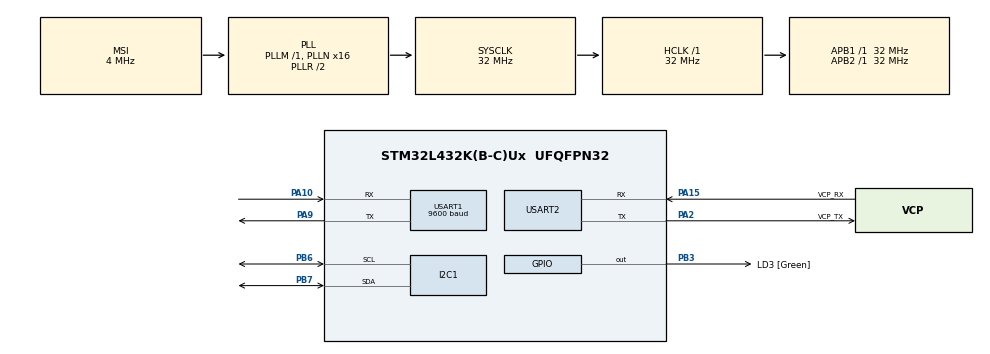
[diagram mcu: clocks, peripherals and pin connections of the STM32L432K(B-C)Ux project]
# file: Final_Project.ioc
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I2C1.Timing=0x00707CBB
Mcu.Family=STM32L4
Mcu.Name=STM32L432K(B-C)Ux
Mcu.Package=UFQFPN32
NVIC.PriorityGroup=NVIC_PRIORITYGROUP_4
PA0.GPIO_Label=MCO [High speed clock in]
PA0.Mode=HSE-External-Clock-Source-for-LittleOrca
PA0.Signal=RCC_CK_IN
PA10.Mode=Asynchronous
PA10.Signal=USART1_RX
PA13\ (JTMS-SWDIO).GPIO_Label=SWDIO
PA13\ (JTMS-SWDIO).Mode=Serial_Wire
PA13\ (JTMS-SWDIO).Signal=SYS_JTMS-SWDIO
PA14\ (JTCK-SWCLK).GPIO_Label=SWCLK
PA14\ (JTCK-SWCLK).Mode=Serial_Wire
PA14\ (JTCK-SWCLK).Signal=SYS_JTCK-SWCLK
PA15\ (JTDI).GPIO_Label=VCP_RX
PA15\ (JTDI).Mode=Asynchronous
PA15\ (JTDI).Signal=USART2_RX
PA2.GPIO_Label=VCP_TX
PA2.Mode=Asynchronous
PA2.Signal=USART2_TX
PA9.Mode=Asynchronous
PA9.Signal=USART1_TX
PB3\ (JTDO-TRACESWO).GPIO_Label=LD3 [Green]
PB3\ (JTDO-TRACESWO).Signal=GPIO_Output
PB6.GPIO_PuPdOD=GPIO_NOPULL
PB6.Mode=I2C
PB6.Signal=I2C1_SCL
PB7.GPIO_PuPdOD=GPIO_NOPULL
PB7.Mode=I2C
PB7.Signal=I2C1_SDA
PC14-OSC32_IN\ (PC14).Mode=LSE-External-Oscillator
PC14-OSC32_IN\ (PC14).Signal=RCC_OSC32_IN
PC15-OSC32_OUT\ (PC15).Mode=LSE-External-Oscillator
PC15-OSC32_OUT\ (PC15).Signal=RCC_OSC32_OUT
ProjectManager.HeapSize=0x200
ProjectManager.StackSize=0x400
ProjectManager.TargetToolchain=TrueSTUDIO
RCC.AHBFreq_Value=32000000
RCC.APB1Freq_Value=32000000
RCC.APB1TimFreq_Value=32000000
RCC.APB2Freq_Value=32000000
RCC.APB2TimFreq_Value=32000000
RCC.CortexFreq_Value=32000000
RCC.HCLKFreq_Value=32000000
RCC.HSE_VALUE=8000000
RCC.HSI16_VALUE=16000000
RCC.HSI48_VALUE=48000000
RCC.HSI_VALUE=16000000
RCC.MSI_VALUE=4000000
RCC.PLLMUL=RCC_PLLMUL_4
RCC.PLLN=16
RCC.SYSCLKFreq_VALUE=32000000
RCC.SYSCLKSource=RCC_SYSCLKSOURCE_PLLCLK
RCC.VCOOutputFreq_Value=64000000
USART1.BaudRate=9600
USART1.VirtualMode-Asynchronous=VM_ASYNC
USART2.VirtualMode-Asynchronous=VM_ASYNC
board=NUCLEO-L432KC

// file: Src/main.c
/**
  ******************************************************************************
  * @file           : main.c
  * @brief          : Main program body
  ******************************************************************************
  ** This notice applies to any and all portions of this file
  * that are not between comment pairs USER CODE BEGIN and
  * USER CODE END. Other portions of this file, whether
  * inserted by the user or by software development tools
  * are owned by their respective copyright owners.
  *
  * COPYRIGHT(c) 2019 STMicroelectronics
  *
  * Redistribution and use in source and binary forms, with or without modification,
  * are permitted provided that the following conditions are met:
  *   1. Redistributions of source code must retain the above copyright notice,
  *      this list of conditions and the following disclaimer.
  *   2. Redistributions in binary form must reproduce the above copyright notice,
  *      this list of conditions and the following disclaimer in the documentation
  *      and/or other materials provided with the distribution.
  *   3. Neither the name of STMicroelectronics nor the names of its contributors
  *      may be used to endorse or promote products derived from this software
  *      without specific prior written permission.
  *
  * THIS SOFTWARE IS PROVIDED BY THE COPYRIGHT HOLDERS AND CONTRIBUTORS "AS IS"
  * AND ANY EXPRESS OR IMPLIED WARRANTIES, INCLUDING, BUT NOT LIMITED TO, THE
  * IMPLIED WARRANTIES OF MERCHANTABILITY AND FITNESS FOR A PARTICULAR PURPOSE ARE
  * DISCLAIMED. IN NO EVENT SHALL THE COPYRIGHT HOLDER OR CONTRIBUTORS BE LIABLE
  * FOR ANY DIRECT, INDIRECT, INCIDENTAL, SPECIAL, EXEMPLARY, OR CONSEQUENTIAL
  * DAMAGES (INCLUDING, BUT NOT LIMITED TO, PROCUREMENT OF SUBSTITUTE GOODS OR
  * SERVICES; LOSS OF USE, DATA, OR PROFITS; OR BUSINESS INTERRUPTION) HOWEVER
  * CAUSED AND ON ANY THEORY OF LIABILITY, WHETHER IN CONTRACT, STRICT LIABILITY,
  * OR TORT (INCLUDING NEGLIGENCE OR OTHERWISE) ARISING IN ANY WAY OUT OF THE USE
  * OF THIS SOFTWARE, EVEN IF ADVISED OF THE POSSIBILITY OF SUCH DAMAGE.
  *
  ******************************************************************************
  */
#include "main.h"
#include "stm32l4xx_hal.h"
#include <math.h>

/* USER CODE BEGIN Includes */
unsigned char start_delimeter = 0x7E;
unsigned char length_MSB = 0x00;
unsigned char length_LSB = 0x0C;
unsigned char frame_type = 0x01;		//Transmit Request Frame, API identifier
unsigned char frame_id = 0x01;		//Identifies data frame to enable respond frame, API Frame ID
unsigned char option = 0x00;
unsigned char destination_add_MSB = 0xAB;
unsigned char destination_add_LSB = 0x01;

unsigned char ADS1015_ADDRESS=0x48;			//1001000
unsigned char ADS1015_ADDRESS_write=0x90;	//10010000
unsigned char ADS1015_ADDRESS_read=0x91;	//10010001
unsigned char ADSwrite[6];
unsigned char ADSwrite2[6];
unsigned char received_data[6];
unsigned char received_data2[6];
int16_t reading;
int16_t reading2;
int16_t reading1=0;
int CO;
const float voltageConv=2.048/2048;
float VRo, VRs, IRo, IRs, Ro, Rs, ratio;
/* USER CODE END Includes */

I2C_HandleTypeDef hi2c1;

UART_HandleTypeDef huart1;
UART_HandleTypeDef huart2;

/* USER CODE BEGIN PV */
/* Private variables ---------------------------------------------------------*/

/* USER CODE END PV */

void SystemClock_Config(void);
static void MX_GPIO_Init(void);
static void MX_USART2_UART_Init(void);
static void MX_USART1_UART_Init(void);
static void MX_I2C1_Init(void);

/* USER CODE BEGIN PFP */
/* Private function prototypes -----------------------------------------------*/

/* USER CODE END PFP */

/* USER CODE BEGIN 0 */
void send_to_xbee(char dataHexa[8]){
	int sum2 = 0x00;
	int sum1 = frame_type + frame_id + destination_add_MSB + destination_add_LSB + option;
	for (int i = 0; i < strlen(dataHexa); i++) {
		sum2 += dataHexa[i];
	}
	int sum = 0;
	sum = sum1 + sum2;
	unsigned char two_last_digit = sum & 0xFF;
	unsigned char checksum = 255 - two_last_digit;
	unsigned char message[16] = { start_delimeter, length_MSB, length_LSB,frame_type, frame_id, destination_add_MSB,
				     destination_add_LSB,option, 0, 0, 0, 0, 0, 0, 0, checksum };
	for (int i = 0; i < 7; i++) {
		message[8 + i] = dataHexa[i];
	}
	HAL_UART_Transmit(&huart1, message, 16, 100);
	//HAL_UART_Transmit(&huart2, message, 16, 100);
}
/* USER CODE END 0 */

int main(void)
{

  /* MCU Configuration----------------------------------------------------------*/

  /* Reset of all peripherals, Initializes the Flash interface and the Systick. */
  HAL_Init();

  /* Configure the system clock */
  SystemClock_Config();

  /* Initialize all configured peripherals */
  MX_GPIO_Init();
  MX_USART2_UART_Init();
  MX_USART1_UART_Init();
  MX_I2C1_Init();
  //applicationInit();
  /* USER CODE BEGIN 2 */
  ADSwrite[0]=0x01;
  ADSwrite[1]=0xE5;	//11100101
  ADSwrite[2]=0x83;	//10000011
  /* USER CODE END 2 */

  for(int i=0; i<30; i++){
	  HAL_I2C_Master_Transmit(&hi2c1, ADS1015_ADDRESS_write, ADSwrite, 3, 100);
	  ADSwrite[0]=0x00;
	  HAL_I2C_Master_Transmit(&hi2c1, ADS1015_ADDRESS_write, ADSwrite, 1, 100);
	  //HAL_Delay(500);
	  HAL_I2C_Master_Receive(&hi2c1, ADS1015_ADDRESS_read, received_data, 2, 100);
	  reading = ((received_data[0] << 8) | received_data[1]) >> 4;
  	  reading1+=reading;
  }
  reading1=reading1/30;
  VRo=5-reading1*voltageConv;
  IRo=VRo/56;
  Ro=(reading1*voltageConv)/IRo;
  /* Infinite loop */
  while (1)
  {
		  char data[8]="";
		  ADSwrite[0]=0x01;
		  HAL_I2C_Master_Transmit(&hi2c1, ADS1015_ADDRESS_write, ADSwrite, 3, 100);
		  ADSwrite[0]=0x00;
		  HAL_I2C_Master_Transmit(&hi2c1, ADS1015_ADDRESS_write, ADSwrite, 1, 100);
		  HAL_Delay(2000);
		  HAL_I2C_Master_Receive(&hi2c1, ADS1015_ADDRESS_read, received_data2, 2, 100);
		  reading2 = ((received_data2[0] << 8) | received_data2[1]) >> 4;
		  VRs=5-reading2*voltageConv;
		  IRs=VRs/56;
		  Rs=(reading2*voltageConv)/IRs;
		  ratio=Rs/Ro;
		  CO=4.4638*pow(ratio, -1.177);
		  if(CO < 1)
			  CO=1;
		  sprintf(data,"1+%d", CO);
		  send_to_xbee(data);
  }

}

void SystemClock_Config(void)
{

  RCC_OscInitTypeDef RCC_OscInitStruct;
  RCC_ClkInitTypeDef RCC_ClkInitStruct;
  RCC_PeriphCLKInitTypeDef PeriphClkInit;

    /**Configure LSE Drive Capability
    */
  HAL_PWR_EnableBkUpAccess();

  __HAL_RCC_LSEDRIVE_CONFIG(RCC_LSEDRIVE_LOW);

    /**Initializes the CPU, AHB and APB busses clocks
    */
  RCC_OscInitStruct.OscillatorType = RCC_OSCILLATORTYPE_LSE|RCC_OSCILLATORTYPE_MSI;
  RCC_OscInitStruct.LSEState = RCC_LSE_ON;
  RCC_OscInitStruct.MSIState = RCC_MSI_ON;
  RCC_OscInitStruct.MSICalibrationValue = 0;
  RCC_OscInitStruct.MSIClockRange = RCC_MSIRANGE_6;
  RCC_OscInitStruct.PLL.PLLState = RCC_PLL_ON;
  RCC_OscInitStruct.PLL.PLLSource = RCC_PLLSOURCE_MSI;
  RCC_OscInitStruct.PLL.PLLM = 1;
  RCC_OscInitStruct.PLL.PLLN = 16;
  RCC_OscInitStruct.PLL.PLLP = RCC_PLLP_DIV7;
  RCC_OscInitStruct.PLL.PLLQ = RCC_PLLQ_DIV2;
  RCC_OscInitStruct.PLL.PLLR = RCC_PLLR_DIV2;
  if (HAL_RCC_OscConfig(&RCC_OscInitStruct) != HAL_OK)
  {
    _Error_Handler(__FILE__, __LINE__);
  }

    /**Initializes the CPU, AHB and APB busses clocks
    */
  RCC_ClkInitStruct.ClockType = RCC_CLOCKTYPE_HCLK|RCC_CLOCKTYPE_SYSCLK
                              |RCC_CLOCKTYPE_PCLK1|RCC_CLOCKTYPE_PCLK2;
  RCC_ClkInitStruct.SYSCLKSource = RCC_SYSCLKSOURCE_PLLCLK;
  RCC_ClkInitStruct.AHBCLKDivider = RCC_SYSCLK_DIV1;
  RCC_ClkInitStruct.APB1CLKDivider = RCC_HCLK_DIV1;
  RCC_ClkInitStruct.APB2CLKDivider = RCC_HCLK_DIV1;

  if (HAL_RCC_ClockConfig(&RCC_ClkInitStruct, FLASH_LATENCY_1) != HAL_OK)
  {
    _Error_Handler(__FILE__, __LINE__);
  }

  PeriphClkInit.PeriphClockSelection = RCC_PERIPHCLK_USART1|RCC_PERIPHCLK_USART2
                              |RCC_PERIPHCLK_I2C1;
  PeriphClkInit.Usart1ClockSelection = RCC_USART1CLKSOURCE_PCLK2;
  PeriphClkInit.Usart2ClockSelection = RCC_USART2CLKSOURCE_PCLK1;
  PeriphClkInit.I2c1ClockSelection = RCC_I2C1CLKSOURCE_PCLK1;
  if (HAL_RCCEx_PeriphCLKConfig(&PeriphClkInit) != HAL_OK)
  {
    _Error_Handler(__FILE__, __LINE__);
  }

    /**Configure the main internal regulator output voltage
    */
  if (HAL_PWREx_ControlVoltageScaling(PWR_REGULATOR_VOLTAGE_SCALE1) != HAL_OK)
  {
    _Error_Handler(__FILE__, __LINE__);
  }

    /**Configure the Systick interrupt time
    */
  HAL_SYSTICK_Config(HAL_RCC_GetHCLKFreq()/1000);

    /**Configure the Systick
    */
  HAL_SYSTICK_CLKSourceConfig(SYSTICK_CLKSOURCE_HCLK);

    /**Enable MSI Auto calibration
    */
  HAL_RCCEx_EnableMSIPLLMode();

  /* SysTick_IRQn interrupt configuration */
  HAL_NVIC_SetPriority(SysTick_IRQn, 0, 0);
}

/* I2C1 init function */
static void MX_I2C1_Init(void)
{

  hi2c1.Instance = I2C1;
  hi2c1.Init.Timing = 0x00707CBB;
  hi2c1.Init.OwnAddress1 = 0;
  hi2c1.Init.AddressingMode = I2C_ADDRESSINGMODE_7BIT;
  hi2c1.Init.DualAddressMode = I2C_DUALADDRESS_DISABLE;
  hi2c1.Init.OwnAddress2 = 0;
  hi2c1.Init.OwnAddress2Masks = I2C_OA2_NOMASK;
  hi2c1.Init.GeneralCallMode = I2C_GENERALCALL_DISABLE;
  hi2c1.Init.NoStretchMode = I2C_NOSTRETCH_DISABLE;
  if (HAL_I2C_Init(&hi2c1) != HAL_OK)
  {
    _Error_Handler(__FILE__, __LINE__);
  }

    /**Configure Analogue filter
    */
  if (HAL_I2CEx_ConfigAnalogFilter(&hi2c1, I2C_ANALOGFILTER_ENABLE) != HAL_OK)
  {
    _Error_Handler(__FILE__, __LINE__);
  }

    /**Configure Digital filter
    */
  if (HAL_I2CEx_ConfigDigitalFilter(&hi2c1, 0) != HAL_OK)
  {
    _Error_Handler(__FILE__, __LINE__);
  }

}

/* USART1 init function */
static void MX_USART1_UART_Init(void)
{

  huart1.Instance = USART1;
  huart1.Init.BaudRate = 9600;
  huart1.Init.WordLength = UART_WORDLENGTH_8B;
  huart1.Init.StopBits = UART_STOPBITS_1;
  huart1.Init.Parity = UART_PARITY_NONE;
  huart1.Init.Mode = UART_MODE_TX_RX;
  huart1.Init.HwFlowCtl = UART_HWCONTROL_NONE;
  huart1.Init.OverSampling = UART_OVERSAMPLING_16;
  huart1.Init.OneBitSampling = UART_ONE_BIT_SAMPLE_DISABLE;
  huart1.AdvancedInit.AdvFeatureInit = UART_ADVFEATURE_NO_INIT;
  if (HAL_UART_Init(&huart1) != HAL_OK)
  {
    _Error_Handler(__FILE__, __LINE__);
  }

}

/* USART2 init function */
static void MX_USART2_UART_Init(void)
{

  huart2.Instance = USART2;
  huart2.Init.BaudRate = 115200;
  huart2.Init.WordLength = UART_WORDLENGTH_8B;
  huart2.Init.StopBits = UART_STOPBITS_1;
  huart2.Init.Parity = UART_PARITY_NONE;
  huart2.Init.Mode = UART_MODE_TX_RX;
  huart2.Init.HwFlowCtl = UART_HWCONTROL_NONE;
  huart2.Init.OverSampling = UART_OVERSAMPLING_16;
  huart2.Init.OneBitSampling = UART_ONE_BIT_SAMPLE_DISABLE;
  huart2.AdvancedInit.AdvFeatureInit = UART_ADVFEATURE_NO_INIT;
  if (HAL_UART_Init(&huart2) != HAL_OK)
  {
    _Error_Handler(__FILE__, __LINE__);
  }

}

/** Configure pins as
        * Analog
        * Input
        * Output
        * EVENT_OUT
        * EXTI
*/
static void MX_GPIO_Init(void)
{

  GPIO_InitTypeDef GPIO_InitStruct;

  /* GPIO Ports Clock Enable */
  __HAL_RCC_GPIOC_CLK_ENABLE();
  __HAL_RCC_GPIOA_CLK_ENABLE();
  __HAL_RCC_GPIOB_CLK_ENABLE();

  /*Configure GPIO pin Output Level */
  HAL_GPIO_WritePin(LD3_GPIO_Port, LD3_Pin, GPIO_PIN_RESET);

  /*Configure GPIO pin : LD3_Pin */
  GPIO_InitStruct.Pin = LD3_Pin;
  GPIO_InitStruct.Mode = GPIO_MODE_OUTPUT_PP;
  GPIO_InitStruct.Pull = GPIO_NOPULL;
  GPIO_InitStruct.Speed = GPIO_SPEED_FREQ_LOW;
  HAL_GPIO_Init(LD3_GPIO_Port, &GPIO_InitStruct);

}

void _Error_Handler(char *file, int line)
{
  while(1)
  {
  }
}

/************************ (C) COPYRIGHT STMicroelectronics *****END OF FILE****/
